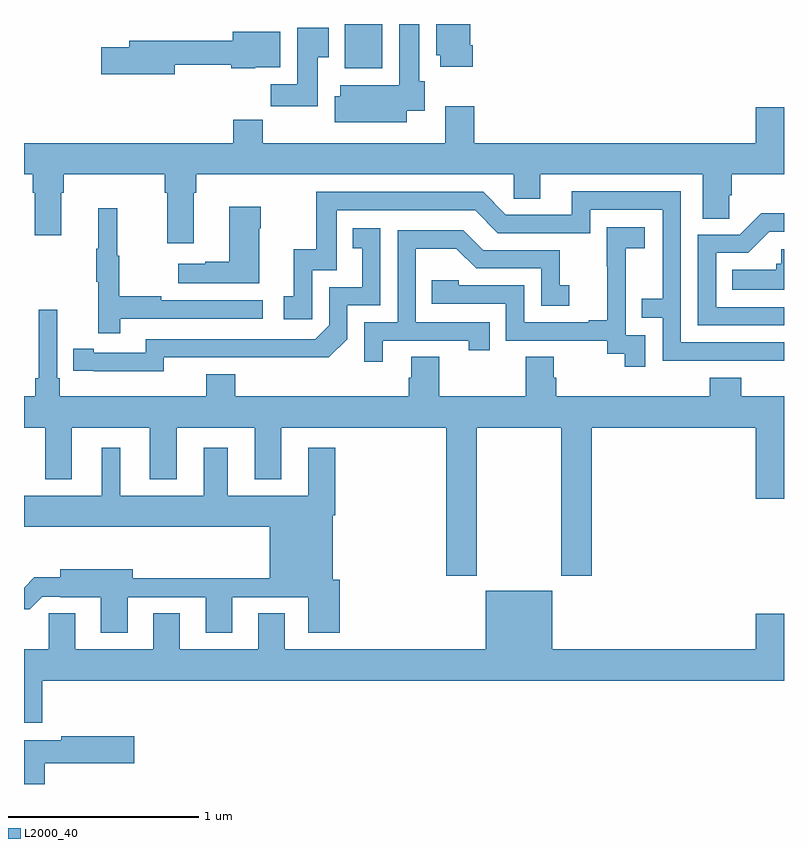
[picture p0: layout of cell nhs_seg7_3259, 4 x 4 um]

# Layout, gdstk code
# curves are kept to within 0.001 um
import gdstk
lib = gdstk.Library(unit=1e-6, precision=1e-09)
def R(c, l, rs):  # rectangles x0, y0, x1, y1
    for r in rs: c.add(gdstk.rectangle(r[:2], r[2:], *l))
def P(c, l, *ps):  # polygons
    for p in ps: c.add(gdstk.Polygon(p, *l))
L2000_40 = (2000, 40)

nhs_seg7_3259 = lib.new_cell('nhs_seg7_3259')
R(nhs_seg7_3259, L2000_40, [(318.689,1075.766,318.886,1076)])
P(nhs_seg7_3259, L2000_40, [(319.361,1075.888),(319.348,1075.888),(319.348,1076),(319.169,1076),(319.169,1075.836),(319.19,1075.836),(319.19,1075.776),(319.361,1075.776)],
  [(319.015,1075.544),(319.108,1075.544),(319.108,1075.698),(319.081,1075.698),(319.081,1076),(318.974,1076),(318.974,1075.678),(318.665,1075.678),(318.665,1075.619),(318.635,1075.619),(318.635,1075.484),(319.015,1075.484)],
  [(318.547,1075.825),(318.604,1075.825),(318.604,1075.981),(318.437,1075.981),(318.437,1075.684),(318.298,1075.684),(318.298,1075.566),(318.547,1075.566)],
  [(317.794,1075.785),(318.091,1075.785),(318.091,1075.766),(318.216,1075.766),(318.216,1075.772),(318.349,1075.772),(318.349,1075.96),(318.098,1075.96),(318.098,1075.913),(317.555,1075.913),(317.555,1075.877),(317.406,1075.877),(317.406,1075.735),(317.794,1075.735)],
  [(317,1075.208),(317.045,1075.208),(317.045,1075.112),(317.057,1075.112),(317.057,1074.888),(317.197,1074.888),(317.197,1075.112),(317.21,1075.112),(317.21,1075.208),(317.741,1075.208),(317.741,1075.112),(317.753,1075.112),(317.753,1074.846),(317.893,1074.846),(317.893,1075.112),(317.906,1075.112),(317.906,1075.208),(319.578,1075.208),(319.578,1075.081),(319.717,1075.081),(319.717,1075.208),(320.573,1075.208),(320.573,1074.976),(320.712,1074.976),(320.712,1075.099),(320.726,1075.099),(320.726,1075.208),(321,1075.208),(321,1075.561),(320.852,1075.561),(320.852,1075.372),(319.37,1075.372),(319.37,1075.567),(319.217,1075.567),(319.217,1075.372),(318.257,1075.372),(318.257,1075.496),(318.101,1075.496),(318.101,1075.372),(317,1075.372)],
  [(321,1074.324),(320.457,1074.324),(320.457,1075.119),(319.883,1075.119),(319.883,1074.996),(319.536,1074.996),(319.416,1075.116),(318.537,1075.116),(318.537,1074.814),(318.419,1074.814),(318.419,1074.567),(318.366,1074.567),(318.366,1074.447),(318.516,1074.447),(318.516,1074.705),(318.645,1074.705),(318.645,1075.02),(319.374,1075.02),(319.494,1074.9),(319.98,1074.9),(319.98,1075.023),(320.361,1075.023),(320.361,1074.554),(320.251,1074.554),(320.251,1074.453),(320.361,1074.453),(320.361,1074.228),(321,1074.227)],
  [(318.238,1074.926),(318.246,1074.926),(318.246,1075.039),(318.08,1075.039),(318.08,1074.749),(317.954,1074.749),(317.954,1074.739),(317.811,1074.739),(317.811,1074.635),(318.238,1074.635)],
  [(317.507,1074.45),(318.256,1074.45),(318.256,1074.546),(317.723,1074.546),(317.723,1074.566),(317.5,1074.566),(317.5,1074.78),(317.492,1074.78),(317.492,1075.03),(317.39,1075.03),(317.39,1074.817),(317.379,1074.817),(317.379,1074.643),(317.39,1074.643),(317.39,1074.372),(317.507,1074.372)],
  [(321,1074.51),(320.643,1074.51),(320.643,1074.795),(320.812,1074.795),(320.923,1074.906),(321,1074.906),(321,1075.004),(320.879,1075.004),(320.766,1074.891),(320.547,1074.891),(320.547,1074.414),(321,1074.414)],
  [(320.271,1074.363),(320.166,1074.363),(320.166,1074.593),(320.168,1074.593),(320.168,1074.821),(320.266,1074.821),(320.266,1074.931),(320.068,1074.931),(320.068,1074.725),(320.069,1074.725),(320.069,1074.442),(319.973,1074.442),(319.973,1074.429),(319.632,1074.429),(319.632,1074.624),(319.287,1074.624),(319.287,1074.651),(319.147,1074.651),(319.147,1074.528),(319.536,1074.528),(319.536,1074.333),(320.07,1074.333),(320.07,1074.265),(320.163,1074.265),(320.163,1074.195),(320.271,1074.195)],
  [(317.736,1074.246),(318.604,1074.245),(318.702,1074.342),(318.702,1074.519),(318.876,1074.519),(318.876,1074.925),(318.73,1074.925),(318.73,1074.819),(318.779,1074.819),(318.779,1074.615),(318.606,1074.615),(318.606,1074.414),(318.534,1074.342),(317.64,1074.342),(317.64,1074.27),(317.368,1074.27),(317.368,1074.29),(317.26,1074.29),(317.26,1074.174),(317.736,1074.173)],
  [(318.889,1074.333),(319.34,1074.333),(319.34,1074.282),(319.451,1074.282),(319.451,1074.429),(319.062,1074.429),(319.062,1074.818),(319.276,1074.818),(319.38,1074.714),(319.722,1074.714),(319.722,1074.516),(319.87,1074.516),(319.87,1074.625),(319.821,1074.625),(319.821,1074.81),(319.417,1074.81),(319.312,1074.915),(318.966,1074.915),(318.966,1074.429),(318.792,1074.429),(318.792,1074.222),(318.889,1074.222)],
  [(321,1074.814),(320.985,1074.814),(320.985,1074.738),(320.959,1074.738),(320.959,1074.706),(320.728,1074.706),(320.728,1074.602),(321,1074.602)],
  [(319.383,1073.876),(319.828,1073.876),(319.828,1073.097),(319.988,1073.097),(319.988,1073.876),(320.852,1073.876),(320.852,1073.502),(321,1073.502),(321,1074.04),(320.774,1074.04),(320.774,1074.139),(320.609,1074.139),(320.609,1074.04),(319.802,1074.04),(319.802,1074.138),(319.789,1074.138),(319.789,1074.248),(319.642,1074.248),(319.642,1074.04),(319.185,1074.04),(319.185,1074.248),(319.037,1074.248),(319.037,1074.138),(319.025,1074.138),(319.025,1074.04),(318.113,1074.04),(318.113,1074.157),(317.96,1074.157),(317.96,1074.04),(317.189,1074.04),(317.189,1074.136),(317.175,1074.136),(317.175,1074.496),(317.078,1074.496),(317.078,1074.136),(317.059,1074.136),(317.059,1074.04),(317,1074.04),(317,1073.876),(317.111,1073.876),(317.111,1073.603),(317.251,1073.603),(317.251,1073.876),(317.663,1073.876),(317.663,1073.603),(317.803,1073.603),(317.803,1073.876),(318.215,1073.876),(318.215,1073.603),(318.355,1073.603),(318.355,1073.876),(319.223,1073.876),(319.223,1073.097),(319.383,1073.097)],
  [(317.545,1072.983),(317.957,1072.983),(317.957,1072.797),(318.097,1072.797),(318.097,1072.983),(318.497,1072.983),(318.497,1072.797),(318.662,1072.797),(318.662,1073.076),(318.625,1073.076),(318.625,1073.414),(318.638,1073.414),(318.638,1073.77),(318.497,1073.77),(318.497,1073.518),(318.073,1073.518),(318.073,1073.77),(317.945,1073.77),(317.945,1073.518),(317.506,1073.518),(317.506,1073.77),(317.408,1073.77),(317.408,1073.518),(317,1073.518),(317,1073.354),(318.293,1073.354),(318.293,1073.084),(317.572,1073.084),(317.572,1073.131),(317.192,1073.131),(317.192,1073.087),(317.054,1073.087),(317,1073.033),(317,1072.919),(317.03,1072.919),(317.097,1072.986),(317.191,1072.986),(317.191,1072.983),(317.405,1072.983),(317.405,1072.797),(317.545,1072.797)],
  [(317.095,1072.544),(321,1072.544),(321,1072.897),(320.852,1072.897),(320.852,1072.708),(319.78,1072.708),(319.78,1073.017),(319.43,1073.017),(319.43,1072.708),(318.373,1072.708),(318.373,1072.898),(318.233,1072.898),(318.233,1072.708),(317.821,1072.708),(317.821,1072.898),(317.681,1072.898),(317.681,1072.708),(317.269,1072.708),(317.269,1072.898),(317.13,1072.898),(317.13,1072.708),(317,1072.708),(317,1072.323),(317.095,1072.323)],
  [(317.11,1072.109),(317.581,1072.109),(317.581,1072.251),(317.196,1072.251),(317.196,1072.231),(317,1072.231),(317,1072),(317.11,1072)])

lib.write_gds('nhs_seg7_3259.gds')
